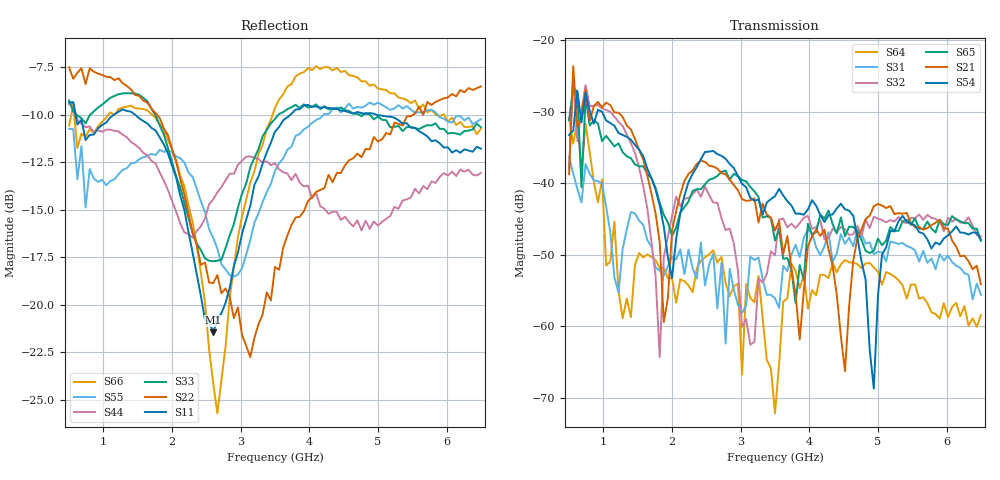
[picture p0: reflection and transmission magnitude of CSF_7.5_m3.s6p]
!Keysight Technologies,M9804A,MY58100912,A.14.10.03
!Date: Thursday, April 27, 2023 10:28:33
!Correction: S11(C  6-Port  )
!S12(C  6-Port  )
!S13(C  6-Port  )
!S14(C  6-Port  )
!S15(C  6-Port  )
!S16(C  6-Port  )
!S21(C  6-Port  )
!S22(C  6-Port  )
!S23(C  6-Port  )
!S24(C  6-Port  )
!S25(C  6-Port  )
!S26(C  6-Port  )
!S31(C  6-Port  )
!S32(C  6-Port  )
!S33(C  6-Port  )
!S34(C  6-Port  )
!S35(C  6-Port  )
!S36(C  6-Port  )
!S41(C  6-Port  )
!S42(C  6-Port  )
!S43(C  6-Port  )
!S44(C  6-Port  )
!S45(C  6-Port  )
!S46(C  6-Port  )
!S51(C  6-Port  )
!S52(C  6-Port  )
!S53(C  6-Port  )
!S54(C  6-Port  )
!S55(C  6-Port  )
!S56(C  6-Port  )
!S61(C  6-Port  )
!S62(C  6-Port  )
!S63(C  6-Port  )
!S64(C  6-Port  )
!S65(C  6-Port  )
!S66(C  6-Port  )
!S6P File: Measurement: :
# Hz S  RI  R 50
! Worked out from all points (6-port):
!   101 points, 500 MHz to 6.5 GHz, reference 50 ohm
!   strongest paths, dB at 500 MHz, 2 GHz, 3.5 GHz, 5 GHz, 6.5 GHz:
!     S54: -33.3, -53.3, -41.8, -55.7, -47.9
!     S21: -38.7, -46.6, -46.6, -42.9, -54.1
!     S65: -31.2, -47.4, -48.0, -47.8, -48.1
!     S32: -38.0, -44.6, -50.1, -45.0, -47.4
!     S31: -36.4, -50.3, -56.1, -49.6, -55.6
!     S64: -30.9, -53.3, -72.2, -52.4, -58.4
!   lowest |S11| = -21.5 dB at 2.6 GHz (marker M1), VSWR 1.18, Z = 42.5 + j2.29 ohm
!   |S11| at or under -10 dB: 594.1 MHz to 1.15 GHz (556.2 MHz wide, 63.8 % of centre); 1.464 GHz to 3.721 GHz (2.257 GHz wide, 87 % of centre); 4.986 GHz to end of sweep
